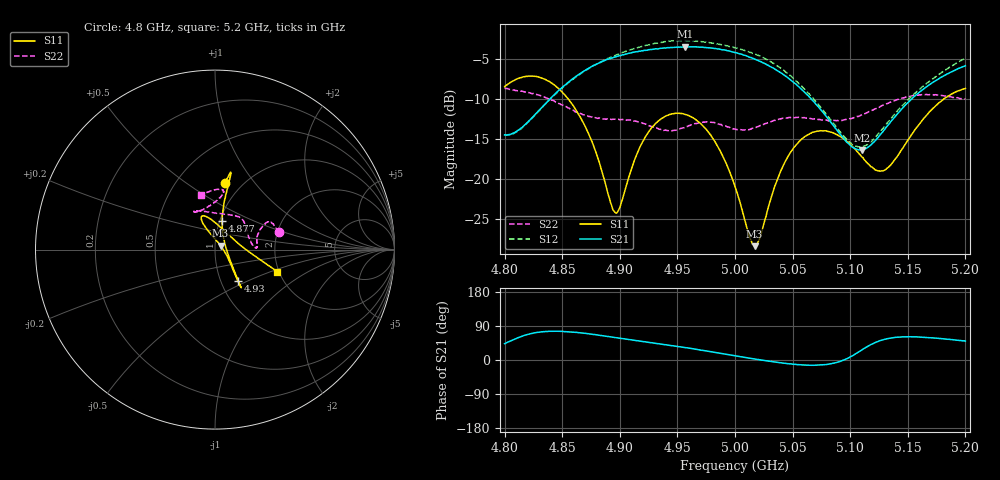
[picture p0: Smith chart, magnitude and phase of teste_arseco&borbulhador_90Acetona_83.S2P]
! Network Analyzer HP8722D
! Hewlett-Packard
! Data name: Linha & Wilkinson
! Saver's name: Rodrigo Anjos
! Comments: Teste da utilização de aquisição
! continua pelo VNA HP8722D
! Time and date: 17/4/2025 11:44
!  Frequency  S11  S21  S12  S22
# HZ  S  MA R 50
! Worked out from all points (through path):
!   401 points, 4.8 GHz to 5.2 GHz, reference 50 ohm
!   highest |S21| = -3.46 dB at 4.957 GHz (marker M1); lowest = -16.4 dB at 5.11 GHz (marker M2)
!   lowest |S11| = -28.4 dB at 5.017 GHz (marker M3), VSWR 1.08, Z = 53.2 + j2.3 ohm
!   |S11| at or under -10 dB: 4.855 GHz to 5.181 GHz (325.9 MHz wide, 6.49 % of centre)
!   |S22| runs from -14.0 to -8.7 dB; largest |S21 - S12| = 0.24
!   S11 on the Smith chart (normalised r, x): 4.8 GHz: 0.83, +0.72; 4.877 GHz: 1.03, +0.33; 4.93 GHz: 1.21, -0.45; 5.2 GHz: 1.96, -0.56
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4.8e9  0.3775 81.5  0.1889 43.1  0.1887 3.5  0.3682 15.2
4.834e9  0.4233 78.1  0.2886 74.8  0.2878 38.4  0.3265 27.8
4.851e9  0.3434 78.6  0.38 75.4  0.377 41.8  0.289 25.5
4.867e9  0.2342 78.8  0.4641 71.2  0.4614 41.5  0.2558 20.1
4.877e9  0.1631 75.7  0.5123 67.6  0.5105 40.4  0.2416 15.7
4.892e9  0.07117 44.3  0.5679 61.1  0.5766 38.0  0.2366 8.8
4.897e9  0.06111 13.7  0.5828 58.9  0.5975 37.3  0.2364 6.5
4.916e9  0.15 -46.5  0.6272 50.6  0.6656 33.0  0.2277 2.5
4.93e9  0.2185 -53.3  0.6496 44.7  0.7045 29.0  0.2096 7.6
4.934e9  0.2325 -54.2  0.6534 42.9  0.7118 27.6  0.2046 10.3
4.957e9  0.2529 -55.4  0.6714 32.6  0.7343 19.0  0.2106 34.8
4.98e9  0.1831 -51.5  0.6589 21.5  0.7079 10.1  0.2261 52.8
5e9  0.08972 -34.2  0.6176 11.0  0.6631 2.8  0.2055 73.6
5.017e9  0.03806 34.6  0.5631 2.7  0.6061 -3.4  0.2083 96.8
5.044e9  0.1302 112.7  0.4395 -8.9  0.4663 -12.4  0.2402 116.6
5.067e9  0.1957 113.2  0.313 -13.8  0.3247 -13.6  0.2375 118.3
5.087e9  0.1916 105.4  0.2084 -7.5  0.2158 -3.4  0.2324 110.4
5.11e9  0.1376 83.1  0.1519 26.4  0.1595 33.9  0.2515 94.7
5.124e9  0.1127 52.6  0.1814 48.9  0.1902 57.9  0.2803 86.5
5.134e9  0.1203 26.5  0.2222 57.3  0.2321 67.6  0.3007 83.2
5.171e9  0.2728 -13.9  0.3992 58.4  0.4201 76.4  0.3361 86.5
5.2e9  0.3685 -19.5  0.511 49.9  0.5699 73.6  0.3159 104.0
